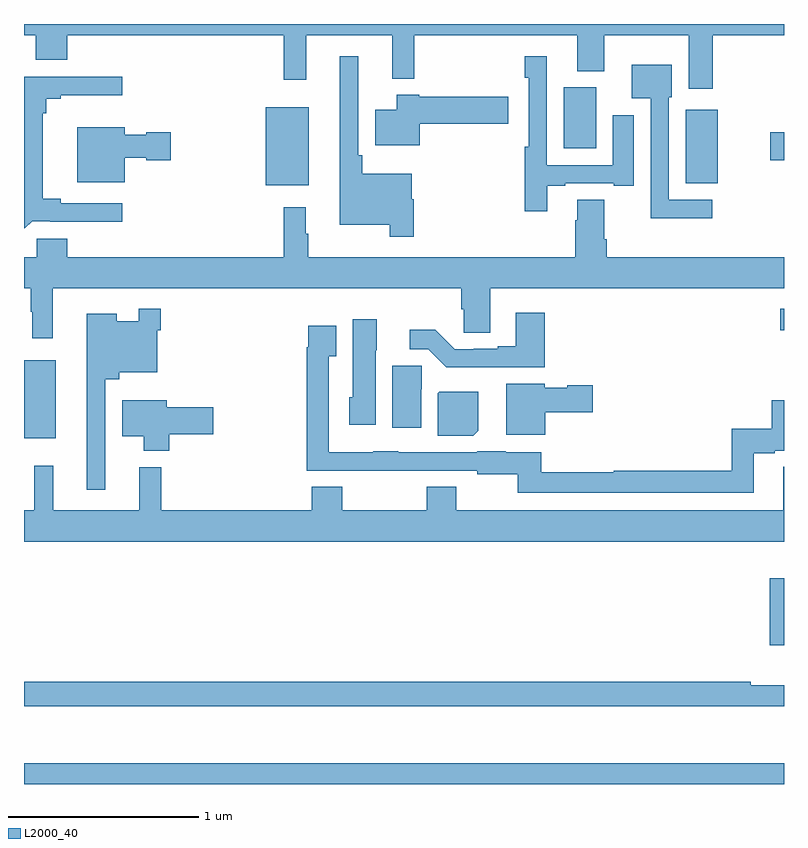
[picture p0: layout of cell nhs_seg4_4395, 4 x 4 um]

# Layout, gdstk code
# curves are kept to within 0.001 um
import gdstk
lib = gdstk.Library(unit=1e-6, precision=1e-09)
def R(c, l, rs):  # rectangles x0, y0, x1, y1
    for r in rs: c.add(gdstk.rectangle(r[:2], r[2:], *l))
def P(c, l, *ps):  # polygons
    for p in ps: c.add(gdstk.Polygon(p, *l))
L2000_40 = (2000, 40)

nhs_seg4_4395 = lib.new_cell('nhs_seg4_4395')
R(nhs_seg4_4395, L2000_40, [(347,772.9,351,773.008), (350.924,773.63,351,773.983), (347,774.719,347.167,775.129), (350.98,775.289,351,775.402), (348.272,776.051,348.499,776.461), (350.483,776.063,350.65,776.449), (350.928,776.183,351,776.33), (349.841,776.246,350.011,776.566)])
P(nhs_seg4_4395, L2000_40, [(350.624,776.84),(351,776.84),(351,776.9),(347,776.9),(347,776.84),(347.063,776.84),(347.063,776.712),(347.227,776.712),(347.227,776.84),(348.367,776.84),(348.367,776.607),(348.485,776.607),(348.485,776.84),(348.938,776.84),(348.938,776.612),(349.055,776.612),(349.055,776.84),(349.913,776.84),(349.913,776.651),(350.053,776.651),(350.053,776.84),(350.498,776.84),(350.498,776.559),(350.624,776.559)],
  [(349.753,776.049),(349.849,776.049),(349.849,776.061),(350.105,776.061),(350.105,776.049),(350.209,776.049),(350.209,776.419),(350.099,776.419),(350.099,776.157),(349.752,776.157),(349.752,776.731),(349.636,776.731),(349.636,776.618),(349.656,776.618),(349.656,776.254),(349.636,776.254),(349.636,775.914),(349.753,775.914)],
  [(349.052,775.977),(349.042,775.977),(349.042,776.113),(348.779,776.113),(348.779,776.209),(348.759,776.209),(348.759,776.731),(348.662,776.731),(348.662,775.844),(348.924,775.844),(348.924,775.779),(349.052,775.779)],
  [(350.623,775.974),(350.394,775.974),(350.394,776.514),(350.41,776.514),(350.41,776.686),(350.198,776.686),(350.198,776.51),(350.298,776.51),(350.298,775.877),(350.623,775.877)],
  [(347.043,775.863),(347.137,775.863),(347.137,775.859),(347.518,775.859),(347.518,775.956),(347.194,775.956),(347.194,775.979),(347.099,775.979),(347.099,776.429),(347.117,776.429),(347.117,776.506),(347.194,776.506),(347.194,776.525),(347.518,776.525),(347.518,776.622),(347.001,776.622),(347,775.824),(347.003,775.824)],
  [(349.084,776.375),(349.549,776.375),(349.549,776.517),(349.08,776.517),(349.08,776.527),(348.962,776.527),(348.962,776.449),(348.848,776.449),(348.848,776.261),(349.084,776.261)],
  [(347.53,776.195),(347.643,776.195),(347.643,776.183),(347.773,776.183),(347.773,776.33),(347.643,776.33),(347.643,776.317),(347.53,776.317),(347.53,776.356),(347.279,776.356),(347.279,776.066),(347.53,776.066)],
  [(347.152,775.508),(349.301,775.508),(349.301,775.398),(349.314,775.398),(349.314,775.276),(349.453,775.276),(349.453,775.508),(351,775.508),(351,775.672),(350.066,775.672),(350.066,775.768),(350.053,775.768),(350.053,775.976),(349.913,775.976),(349.913,775.868),(349.901,775.868),(349.901,775.672),(348.496,775.672),(348.496,775.796),(348.484,775.796),(348.484,775.936),(348.367,775.936),(348.367,775.672),(347.228,775.672),(347.228,775.77),(347.068,775.77),(347.068,775.672),(347,775.672),(347,775.508),(347.035,775.508),(347.035,775.385),(347.043,775.385),(347.043,775.245),(347.152,775.245)],
  [(347.427,775.031),(347.501,775.031),(347.501,775.067),(347.7,775.067),(347.7,775.289),(347.72,775.289),(347.72,775.402),(347.604,775.402),(347.604,775.336),(347.488,775.336),(347.488,775.375),(347.33,775.375),(347.33,774.45),(347.427,774.45)],
  [(349.742,775.381),(349.589,775.381),(349.589,775.204),(349.493,775.204),(349.493,775.191),(349.366,775.191),(349.366,775.188),(349.266,775.188),(349.164,775.291),(349.029,775.291),(349.029,775.188),(349.128,775.188),(349.223,775.094),(349.742,775.094)],
  [(348.85,775.182),(348.856,775.182),(348.856,775.345),(348.731,775.345),(348.731,774.936),(348.713,774.936),(348.713,774.792),(348.85,774.792)],
  [(350.842,774.642),(350.952,774.642),(350.952,774.654),(351,774.654),(351,774.919),(350.936,774.919),(350.936,774.77),(350.725,774.77),(350.725,774.548),(350.104,774.548),(350.104,774.541),(349.723,774.541),(349.723,774.646),(349.536,774.646),(349.536,774.652),(349.386,774.652),(349.386,774.645),(348.969,774.645),(348.969,774.652),(348.837,774.652),(348.837,774.646),(348.603,774.646),(348.603,775.151),(348.643,775.151),(348.643,775.312),(348.495,775.312),(348.495,775.199),(348.487,775.199),(348.487,774.549),(348.737,774.549),(348.737,774.548),(348.969,774.548),(348.969,774.549),(349.386,774.549),(349.386,774.53),(349.599,774.53),(349.599,774.432),(350.842,774.432)],
  [(349.09,774.978),(349.094,774.978),(349.094,775.101),(348.938,775.101),(348.938,774.774),(349.09,774.774)],
  [(349.744,774.856),(349.993,774.856),(349.993,774.998),(349.86,774.998),(349.86,774.985),(349.74,774.985),(349.74,775.006),(349.538,775.006),(349.538,774.737),(349.744,774.737)],
  [(349.39,774.76),(349.39,774.964),(349.186,774.964),(349.178,774.956),(349.178,774.734),(349.364,774.734)],
  [(347.765,774.742),(347.995,774.742),(347.995,774.884),(347.752,774.884),(347.752,774.919),(347.516,774.919),(347.516,774.731),(347.63,774.731),(347.63,774.653),(347.765,774.653)],
  [(351,774.569),(350.996,774.569),(350.996,774.34),(349.275,774.34),(349.275,774.464),(349.12,774.464),(349.12,774.34),(348.675,774.34),(348.675,774.464),(348.515,774.464),(348.515,774.34),(347.723,774.34),(347.723,774.568),(347.606,774.568),(347.606,774.34),(347.153,774.34),(347.153,774.574),(347.053,774.574),(347.053,774.34),(347,774.34),(347,774.176),(351,774.176)],
  [(351,773.42),(350.825,773.42),(350.825,773.438),(347,773.438),(347,773.31),(351,773.31)])

lib.write_gds('nhs_seg4_4395.gds')
